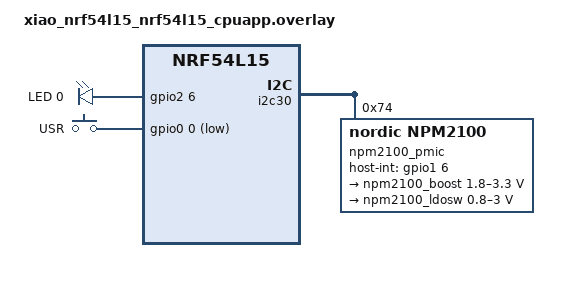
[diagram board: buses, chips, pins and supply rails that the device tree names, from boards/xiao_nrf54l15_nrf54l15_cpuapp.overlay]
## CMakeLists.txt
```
cmake_minimum_required(VERSION 3.20.0)

find_package(Zephyr REQUIRED HINTS $ENV{ZEPHYR_BASE})
project(radio_test)

# Application sources
FILE(GLOB app_sources src/*.c)

# NORDIC SDK APP START
target_sources(app PRIVATE
	${app_sources}
)
# NORDIC SDK APP END
```

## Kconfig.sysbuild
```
# Copyright (c) 2024 Nordic Semiconductor ASA
# SPDX-License-Identifier: Apache-2.0

source "${ZEPHYR_BASE}/share/sysbuild/Kconfig"

config REMOTE_BOARD
	string "The board used for remote target"
	default "xiao_nrf54l15/nrf54l15/cpuflpr"
```

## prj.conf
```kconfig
CONFIG_SERIAL=y
CONFIG_UART_ASYNC_API=y
CONFIG_CONSOLE=y
CONFIG_SHELL=y
CONFIG_UART_CONSOLE=y
CONFIG_SHELL_BACKEND_SERIAL=y
CONFIG_SHELL_BACKEND_DUMMY=y

CONFIG_GPIO=y
CONFIG_GPIO_SHELL=y
CONFIG_INPUT=y
CONFIG_I2C=y
CONFIG_I2C_SHELL=y
CONFIG_SPI=y
CONFIG_SPI_SHELL=y

CONFIG_REBOOT=y
# open app log
CONFIG_LOG=y
CONFIG_LOG_BACKEND_UART=y
```

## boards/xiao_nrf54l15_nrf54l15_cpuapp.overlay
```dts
/ {
	leds {
		compatible = "gpio-leds";

		led0: led_0 {
			gpios = <&gpio2 6 GPIO_ACTIVE_HIGH>;
			label = "LED 0";
		};
	};

	buttons: buttons {
		compatible = "gpio-keys";

		usr_btn: usr-btn {
			gpios = <&gpio0 0 (GPIO_PULL_UP | GPIO_ACTIVE_LOW)>;
			label = "USR";
			zephyr,code = <INPUT_KEY_ENTER>;
		};
	};

	aliases {
		led0 = &led0;
		buttons = &buttons;
		sw0 = &usr_btn;
	};
};


&i2c30 {
	status = "okay";

	npm2100_pmic: pmic@74 {
		compatible = "nordic,npm2100";
		reg = <0x74>;
		pmic-int-pin = <1>;
		pmic-int-flags = <GPIO_ACTIVE_HIGH>;
		host-int-type = "level";
		shiphold-longpress = "reset";

		npm2100_gpio: gpio-controller {
			compatible = "nordic,npm2100-gpio";
			gpio-controller;
			#gpio-cells = <2>;
			ngpios = <2>;
		};

		npm2100_regulators: regulators {
			compatible = "nordic,npm2100-regulator";

			/* limits are set to min/max allowed values */
			npm2100_boost: BOOST {
				regulator-min-microvolt = <1800000>;
				regulator-max-microvolt = <3300000>;
				regulator-init-microvolt= <3300000>; 
				regulator-boot-on;
				regulator-init-microamp = <0>;
			};

			npm2100_ldosw: LDOSW {
				regulator-min-microvolt = <800000>;
				regulator-max-microvolt = <3000000>;
			};
		};

		npm2100_wdt: watchdog {
			compatible = "nordic,npm2100-wdt";
		};

		npm2100_vbat: vbat {
			compatible = "nordic,npm2100-vbat";
		};

		npm2100_buttons: buttons {
			compatible = "gpio-keys";

			pmic_shphld: pmic_shphld {
				gpios = <&npm2100_gpio 4 GPIO_ACTIVE_LOW>;
				label = "Pmic shphld";
				zephyr,code = <INPUT_KEY_0>;
			};
		};
	};

};

&npm2100_pmic {
	host-int-gpios = <&gpio1 6 GPIO_ACTIVE_HIGH>;
};



&pinctrl {
	i2c22_default: i2c22_default {
		group1 {
			psels = <NRF_PSEL(TWIM_SDA, 1, 12)>,
				<NRF_PSEL(TWIM_SCL, 1, 11)>;
		};
	};

	i2c22_sleep: i2c22_sleep {
		group1 {
			psels = <NRF_PSEL(TWIM_SDA, 1, 12)>,
				<NRF_PSEL(TWIM_SCL, 1, 11)>;
			low-power-enable;
		};
	};
	
	// uart21_default: uart21_default {
	// 	group1 {
	// 		psels = <NRF_PSEL(UART_TX, 1, 12)>;
	// 	};

	// 	group2 {
	// 		psels = <NRF_PSEL(UART_RX, 1, 11)>;
	// 		bias-pull-up;
	// 	};
	// };

	// uart21_sleep: uart21_sleep {
	// 	group1 {
	// 		psels = <NRF_PSEL(UART_TX, 1, 12)>,
	// 			<NRF_PSEL(UART_RX, 1, 11)>;
	// 		low-power-enable;
	// 	};
	// };
};
```

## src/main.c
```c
#include <zephyr/kernel.h>
#include <zephyr/drivers/gpio.h>
#include <zephyr/sys/reboot.h>
#include <zephyr/logging/log.h>
#include <zephyr/shell/shell.h>

LOG_MODULE_REGISTER(main, LOG_LEVEL_DBG);

/*
 * Get button configuration from the device tree.
 */
static const struct gpio_dt_spec button = GPIO_DT_SPEC_GET(DT_ALIAS(sw0), gpios);
static struct gpio_callback button_cb_data;

void button_pressed(const struct device *dev, struct gpio_callback *cb, uint32_t pins)
{
	LOG_INF("User button pressed. Rebooting...");
	// Short delay to allow log to flush.
	k_msleep(100);
	sys_reboot(SYS_REBOOT_WARM);
}

int main(void)
{
	int ret;

	LOG_INF("Board %s started. You can now use the shell to test peripherals.", CONFIG_BOARD);
	LOG_INF("Press the user button to trigger a software reset.");

	if (!gpio_is_ready_dt(&button)) {
		LOG_ERR("Error: button device %s is not ready",
		       button.port->name);
		return 0;
	}

	ret = gpio_pin_configure_dt(&button, GPIO_INPUT);
	if (ret != 0) {
		LOG_ERR("Error %d: failed to configure %s pin %d",
		       ret, button.port->name, button.pin);
		return 0;
	}

	ret = gpio_pin_interrupt_configure_dt(&button, GPIO_INT_EDGE_TO_ACTIVE);
	if (ret != 0) {
		LOG_ERR("Error %d: failed to configure interrupt on %s pin %d",
			ret, button.port->name, button.pin);
		return 0;
	}

	gpio_init_callback(&button_cb_data, button_pressed, BIT(button.pin));
	gpio_add_callback(button.port, &button_cb_data);
	return 0;
}

/* Custom GPIO commands */
struct gpio_pin {
	const struct device *port;
	uint8_t pin_num;
};

static const struct gpio_pin pins_to_control[] = {
	{DEVICE_DT_GET(DT_NODELABEL(gpio0)), 1}, {DEVICE_DT_GET(DT_NODELABEL(gpio0)), 2},
	{DEVICE_DT_GET(DT_NODELABEL(gpio1)), 2}, {DEVICE_DT_GET(DT_NODELABEL(gpio1)), 3}, {DEVICE_DT_GET(DT_NODELABEL(gpio1)), 4}, {DEVICE_DT_GET(DT_NODELABEL(gpio1)), 5},
	{DEVICE_DT_GET(DT_NODELABEL(gpio1)), 7}, {DEVICE_DT_GET(DT_NODELABEL(gpio1)), 10},
	{DEVICE_DT_GET(DT_NODELABEL(gpio1)), 13}, {DEVICE_DT_GET(DT_NODELABEL(gpio1)), 14},
	{DEVICE_DT_GET(DT_NODELABEL(gpio2)), 0}, {DEVICE_DT_GET(DT_NODELABEL(gpio2)), 1}, {DEVICE_DT_GET(DT_NODELABEL(gpio2)), 2}, {DEVICE_DT_GET(DT_NODELABEL(gpio2)), 3},
	{DEVICE_DT_GET(DT_NODELABEL(gpio2)), 4}, {DEVICE_DT_GET(DT_NODELABEL(gpio2)), 5},

	// {DEVICE_DT_GET(DT_NODELABEL(gpio1)), 8}, {DEVICE_DT_GET(DT_NODELABEL(gpio1)), 9},TX RX
};

static int cmd_gpios_init(const struct shell *sh, size_t argc, char **argv)
{
	for (size_t i = 0; i < ARRAY_SIZE(pins_to_control); i++) {
		if (!device_is_ready(pins_to_control[i].port)) {
			shell_error(sh, "Error: GPIO port not ready.");
			return -ENODEV;
		}
		int ret = gpio_pin_configure(pins_to_control[i].port, pins_to_control[i].pin_num, GPIO_OUTPUT_INACTIVE);
		if (ret) {
			shell_error(sh, "Error configuring pin %d on port", pins_to_control[i].pin_num);
			return ret;
		}
	}
	shell_print(sh, "All specified GPIOs configured as output.");
	return 0;
}

static int cmd_gpios_set(const struct shell *sh, size_t argc, char **argv, int level)
{
	for (size_t i = 0; i < ARRAY_SIZE(pins_to_control); i++) {
		if (!device_is_ready(pins_to_control[i].port)) {
			shell_error(sh, "Error: GPIO port not ready.");
			return -ENODEV;
		}
		gpio_pin_set(pins_to_control[i].port, pins_to_control[i].pin_num, level);
	}
	shell_print(sh, "All specified GPIOs set to %d.", level);
	return 0;
}

static int cmd_gpios_high(const struct shell *sh, size_t argc, char **argv)
{
	return cmd_gpios_set(sh, argc, argv, 1);
}

static int cmd_gpios_low(const struct shell *sh, size_t argc, char **argv)
{
	return cmd_gpios_set(sh, argc, argv, 0);
}

static int cmd_gpios_toggle(const struct shell *sh, size_t argc, char **argv)
{
	for (size_t i = 0; i < ARRAY_SIZE(pins_to_control); i++) {
		if (!device_is_ready(pins_to_control[i].port)) {
			shell_error(sh, "Error: GPIO port not ready.");
			return -ENODEV;
		}
		gpio_pin_toggle(pins_to_control[i].port, pins_to_control[i].pin_num);
	}
	shell_print(sh, "All specified GPIOs toggled.");
	return 0;
}

SHELL_STATIC_SUBCMD_SET_CREATE(sub_gpios,
	SHELL_CMD(init, NULL, "Configure all GPIOs as output.", cmd_gpios_init),
	SHELL_CMD(high, NULL, "Set all GPIOs to high.", cmd_gpios_high),
	SHELL_CMD(low, NULL, "Set all GPIOs to low.", cmd_gpios_low),
	SHELL_CMD(toggle, NULL, "Toggle all GPIOs.", cmd_gpios_toggle),
	SHELL_SUBCMD_SET_END
);

SHELL_CMD_REGISTER(gpios, &sub_gpios, "Bulk GPIO control commands", NULL);
```
